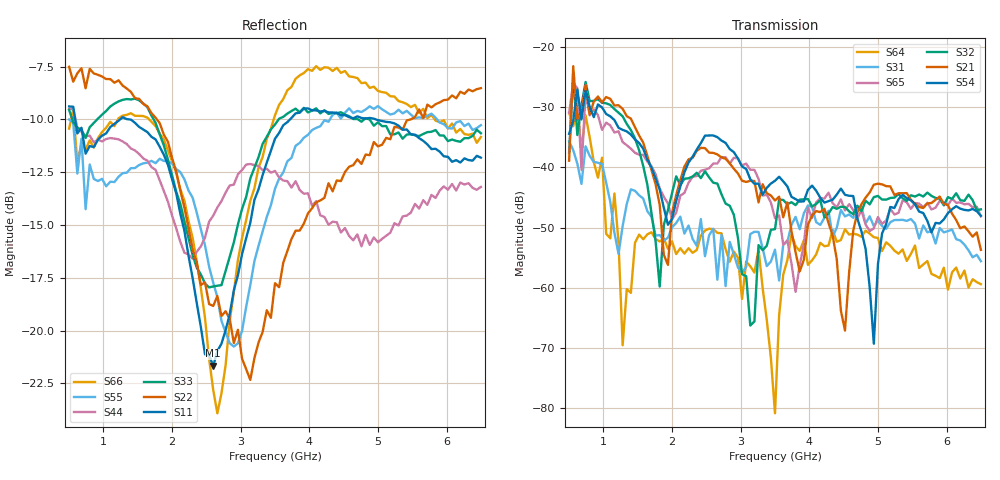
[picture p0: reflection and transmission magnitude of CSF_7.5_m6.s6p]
!Keysight Technologies,M9804A,MY58100912,A.14.10.03
!Date: Thursday, April 27, 2023 10:28:33
!Correction: S11(C  6-Port  )
!S12(C  6-Port  )
!S13(C  6-Port  )
!S14(C  6-Port  )
!S15(C  6-Port  )
!S16(C  6-Port  )
!S21(C  6-Port  )
!S22(C  6-Port  )
!S23(C  6-Port  )
!S24(C  6-Port  )
!S25(C  6-Port  )
!S26(C  6-Port  )
!S31(C  6-Port  )
!S32(C  6-Port  )
!S33(C  6-Port  )
!S34(C  6-Port  )
!S35(C  6-Port  )
!S36(C  6-Port  )
!S41(C  6-Port  )
!S42(C  6-Port  )
!S43(C  6-Port  )
!S44(C  6-Port  )
!S45(C  6-Port  )
!S46(C  6-Port  )
!S51(C  6-Port  )
!S52(C  6-Port  )
!S53(C  6-Port  )
!S54(C  6-Port  )
!S55(C  6-Port  )
!S56(C  6-Port  )
!S61(C  6-Port  )
!S62(C  6-Port  )
!S63(C  6-Port  )
!S64(C  6-Port  )
!S65(C  6-Port  )
!S66(C  6-Port  )
!S6P File: Measurement: :
# Hz S  RI  R 50
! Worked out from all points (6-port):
!   101 points, 500 MHz to 6.5 GHz, reference 50 ohm
!   strongest paths, dB at 500 MHz, 2 GHz, 3.5 GHz, 5 GHz, 6.5 GHz:
!     S54: -34.4, -48.6, -42.2, -56.1, -48.0
!     S21: -38.9, -47.5, -45.5, -42.7, -53.7
!     S32: -37.6, -44.3, -50.3, -44.7, -47.0
!     S65: -31.0, -48.6, -48.4, -48.3, -48.1
!     S31: -35.7, -49.9, -53.7, -48.8, -55.6
!     S64: -30.9, -52.3, -80.8, -51.7, -59.4
!   lowest |S11| = -21.7 dB at 2.6 GHz (marker M1), VSWR 1.18, Z = 42.6 + j2.02 ohm
!   |S11| at or under -10 dB: 588.3 MHz to 1.244 GHz (655.6 MHz wide, 71.6 % of centre); 1.368 GHz to 3.72 GHz (2.353 GHz wide, 92.5 % of centre); 4.967 GHz to end of sweep
